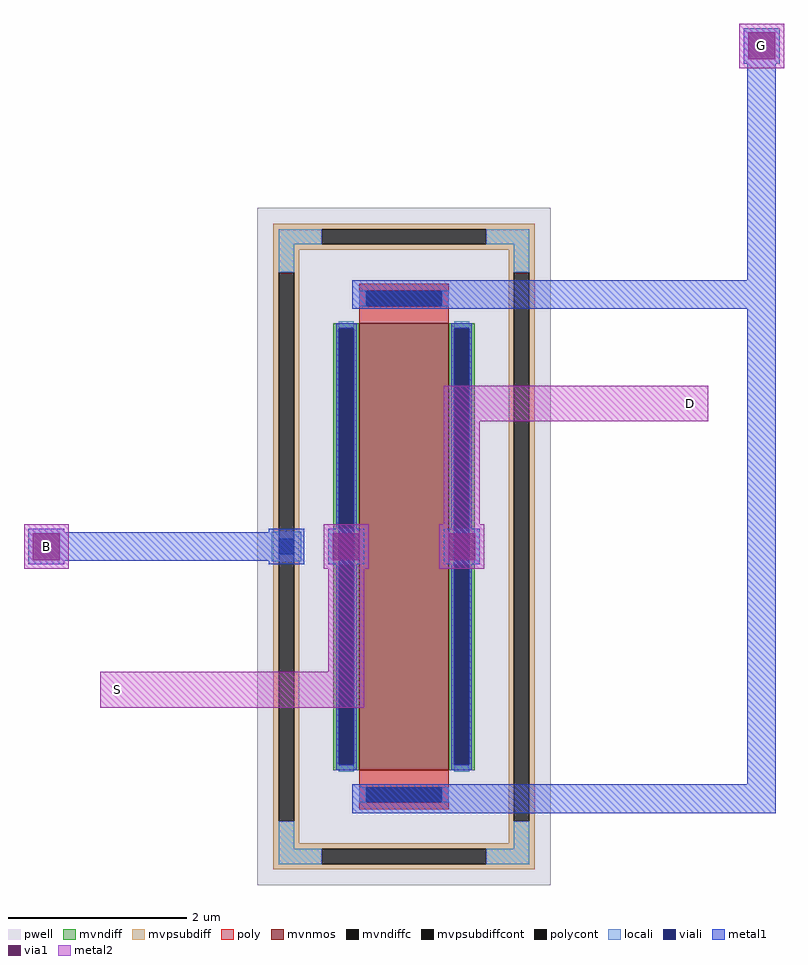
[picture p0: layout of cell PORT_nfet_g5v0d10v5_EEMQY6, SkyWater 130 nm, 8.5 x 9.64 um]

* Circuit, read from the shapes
.subckt PORT_nfet_g5v0d10v5_EEMQY6 B S D G
XM1 D G S B sky130_fd_pr__nfet_g5v0d10v5 w=5 l=1
.ends

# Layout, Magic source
magic
tech sky130A
magscale 1 2
use sky130_fd_pr__nfet_g5v0d10v5_EEMQY6 XDEV
transform 1 0 0 0 1 0
box -328 -758 328 758
<< locali >>
rect -296 -33 -230 33
<< viali >>
rect -280 -17 -246 17
<< metal1 >>
rect -303 -40 -223 40
rect -832 -32 -231 32
rect -840 -40 -760 40
rect -169 -40 -89 40
rect 89 -40 169 40
rect -116 532 832 596
rect -116 -596 832 -532
rect 768 -587 832 1152
rect 760 1080 840 1160
<< via1 >>
rect -830 -30 -770 30
rect -159 -30 -99 30
rect 99 -30 159 30
rect 770 1090 830 1150
<< metal2 >>
rect -850 -50 -750 50
rect -179 -50 -79 50
rect -169 -40 -89 40
rect -169 -360 -89 40
rect 79 -50 179 50
rect 89 -40 169 40
rect 89 -40 169 360
rect -680 -360 -89 -280
rect 89 280 680 360
rect 750 1070 850 1170
<< labels >>
rlabel metal2 -830 -30 -770 30 0 B
port 1 nsew
rlabel metal2 -670 -350 -610 -290 0 S
port 2 nsew
rlabel metal2 610 290 670 350 0 D
port 3 nsew
rlabel metal2 770 1090 830 1150 0 G
port 4 nsew
<< end >>

# cell sky130_fd_pr__nfet_g5v0d10v5_EEMQY6: kit device sky130_fd_pr__nfet_g5v0d10v5, w 5.0 l 1.0 m 1 nf 1 diffcov 100 polycov 100 guard 1 glc 1 grc 1 gtc 1 gbc 1 tbcov 100 rlcov 100 topc 1 botc 1 poverlap 0 doverlap 1 lmin 0.50 wmin 0.42 compatible {sky130_fd_pr__nfet_01v8 sky130_fd_pr__nfet_01v8_lvt sky130_fd_bs_flash__special_sonosfet_star sky130_fd_pr__nfet_g5v0d10v5 sky130_fd_pr__nfet_05v0_nvt sky130_fd_pr__nfet_03v3_nvt} full_metal 1 viasrc 100 viadrn 100 viagate 100 viagb 0 viagr 0 viagl 0 viagt 0
